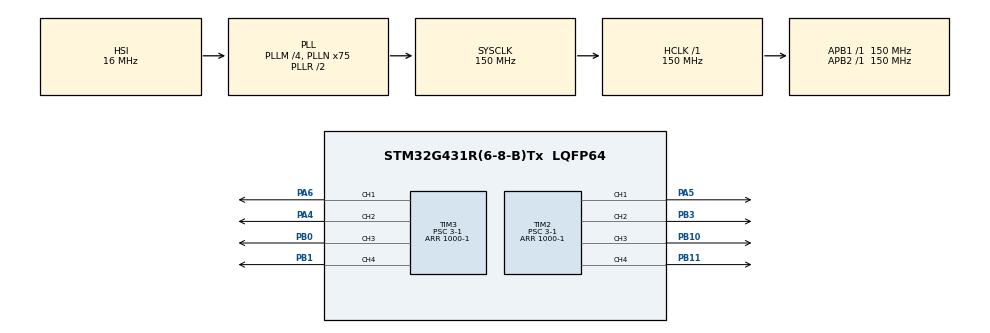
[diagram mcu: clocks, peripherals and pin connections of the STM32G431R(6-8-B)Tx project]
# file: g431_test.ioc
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FREERTOS.Tasks01=defaultTask,0,128,StartDefaultTask,Default,NULL,Dynamic,NULL,NULL
Mcu.Family=STM32G4
Mcu.Name=STM32G431R(6-8-B)Tx
Mcu.Package=LQFP64
NVIC.PriorityGroup=NVIC_PRIORITYGROUP_4
NVIC.TIM2_IRQn=true\:5\:0\:false\:false\:true\:true\:true\:true\:true
NVIC.TIM3_IRQn=true\:5\:0\:true\:false\:true\:true\:true\:true\:true
PA13.Mode=Serial_Wire
PA13.Signal=SYS_JTMS-SWDIO
PA14.Mode=Serial_Wire
PA14.Signal=SYS_JTCK-SWCLK
PA4.Signal=S_TIM3_CH2
PA5.Signal=S_TIM2_CH1
PA6.Signal=S_TIM3_CH1
PB0.Signal=S_TIM3_CH3
PB1.Signal=S_TIM3_CH4
PB10.Signal=S_TIM2_CH3
PB11.Signal=S_TIM2_CH4
PB3.Signal=S_TIM2_CH2
PC14-OSC32_IN.Mode=LSE-External-Oscillator
PC14-OSC32_IN.Signal=RCC_OSC32_IN
PC15-OSC32_OUT.Mode=LSE-External-Oscillator
PC15-OSC32_OUT.Signal=RCC_OSC32_OUT
PF0-OSC_IN.Mode=HSE-External-Oscillator
PF0-OSC_IN.Signal=RCC_OSC_IN
PF1-OSC_OUT.Mode=HSE-External-Oscillator
PF1-OSC_OUT.Signal=RCC_OSC_OUT
ProjectManager.HeapSize=0x200
ProjectManager.StackSize=0x400
ProjectManager.TargetToolchain=MDK-ARM V5.32
RCC.ADC12Freq_Value=150000000
RCC.AHBFreq_Value=150000000
RCC.APB1Freq_Value=150000000
RCC.APB1TimFreq_Value=150000000
RCC.APB2Freq_Value=150000000
RCC.APB2TimFreq_Value=150000000
RCC.CortexFreq_Value=150000000
RCC.EXTERNAL_CLOCK_VALUE=12288000
RCC.HCLKFreq_Value=150000000
RCC.HSE_VALUE=8000000
RCC.HSI48_VALUE=48000000
RCC.HSI_VALUE=16000000
RCC.PLLM=RCC_PLLM_DIV4
RCC.PLLN=75
RCC.SYSCLKFreq_VALUE=150000000
RCC.SYSCLKSource=RCC_SYSCLKSOURCE_PLLCLK
RCC.USBFreq_Value=150000000
RCC.VCOOutputFreq_Value=300000000
SH.S_TIM2_CH1.0=TIM2_CH1,PWM Generation1 CH1
SH.S_TIM2_CH2.0=TIM2_CH2,PWM Generation2 CH2
SH.S_TIM2_CH3.0=TIM2_CH3,PWM Generation3 CH3
SH.S_TIM2_CH4.0=TIM2_CH4,PWM Generation4 CH4
SH.S_TIM3_CH1.0=TIM3_CH1,PWM Generation1 CH1
SH.S_TIM3_CH2.0=TIM3_CH2,PWM Generation2 CH2
SH.S_TIM3_CH3.0=TIM3_CH3,PWM Generation3 CH3
SH.S_TIM3_CH4.0=TIM3_CH4,PWM Generation4 CH4
TIM2.Channel-PWM\ Generation1\ CH1=TIM_CHANNEL_1
TIM2.Channel-PWM\ Generation2\ CH2=TIM_CHANNEL_2
TIM2.Channel-PWM\ Generation3\ CH3=TIM_CHANNEL_3
TIM2.Channel-PWM\ Generation4\ CH4=TIM_CHANNEL_4
TIM2.OCMode_PWM-PWM\ Generation2\ CH2=TIM_OCMODE_PWM2
TIM2.OCMode_PWM-PWM\ Generation3\ CH3=TIM_OCMODE_PWM1
TIM2.OCMode_PWM-PWM\ Generation4\ CH4=TIM_OCMODE_PWM2
TIM2.PeriodNoDither=1000-1
TIM2.Prescaler=3-1
TIM2.PulseNoDither_1=2000
TIM2.PulseNoDither_2=2000
TIM2.PulseNoDither_3=2000
TIM2.PulseNoDither_4=2000
TIM3.Channel-PWM\ Generation1\ CH1=TIM_CHANNEL_1
TIM3.Channel-PWM\ Generation2\ CH2=TIM_CHANNEL_2
TIM3.Channel-PWM\ Generation3\ CH3=TIM_CHANNEL_3
TIM3.Channel-PWM\ Generation4\ CH4=TIM_CHANNEL_4
TIM3.OCMode_PWM-PWM\ Generation3\ CH3=TIM_OCMODE_PWM2
TIM3.OCMode_PWM-PWM\ Generation4\ CH4=TIM_OCMODE_PWM2
TIM3.PeriodNoDither=1000-1
TIM3.Prescaler=3-1
TIM3.PulseNoDither_1=2000
TIM3.PulseNoDither_2=2000
TIM3.PulseNoDither_3=2000
TIM3.PulseNoDither_4=2000
VP_FREERTOS_VS_CMSIS_V1.Mode=CMSIS_V1
VP_SYS_VS_DBSignals.Mode=DisableDeadBatterySignals
VP_TIM2_VS_ClockSourceINT.Mode=Internal
VP_TIM3_VS_ClockSourceINT.Mode=Internal
board=custom

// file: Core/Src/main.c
/* USER CODE BEGIN Header */
/**
  ******************************************************************************
  * @file           : main.c
  * @brief          : Main program body
  ******************************************************************************
  * @attention
  *
  * Copyright (c) 2025 STMicroelectronics.
  * All rights reserved.
  *
  * This software is licensed under terms that can be found in the LICENSE file
  * in the root directory of this software component.
  * If no LICENSE file comes with this software, it is provided AS-IS.
  *
  ******************************************************************************
  */
/* USER CODE END Header */
#include "main.h"
#include "cmsis_os.h"
#include "tim.h"
#include "gpio.h"

/* USER CODE BEGIN Includes */
#include "ad7606b.h"
#include "bsp_dwt.h"
/* USER CODE END Includes */

void SystemClock_Config(void);
void MX_FREERTOS_Init(void);

int main(void)
{

  /* MCU Configuration--------------------------------------------------------*/

  /* Reset of all peripherals, Initializes the Flash interface and the Systick. */
  HAL_Init();

  /* Configure the system clock */
  SystemClock_Config();

  /* Initialize all configured peripherals */
  MX_GPIO_Init();
  MX_TIM3_Init();
  MX_TIM2_Init();
  /* USER CODE BEGIN 2 */

	HAL_TIM_PWM_Start_IT(&htim3,TIM_CHANNEL_1);
	HAL_TIM_PWM_Start_IT(&htim3,TIM_CHANNEL_2);
	HAL_TIM_PWM_Start_IT(&htim3,TIM_CHANNEL_3);
	HAL_TIM_PWM_Start_IT(&htim3,TIM_CHANNEL_4);
	HAL_TIM_PWM_Start_IT(&htim2,TIM_CHANNEL_1);
	HAL_TIM_PWM_Start_IT(&htim2,TIM_CHANNEL_2);
	HAL_TIM_PWM_Start_IT(&htim2,TIM_CHANNEL_3);
	HAL_TIM_PWM_Start_IT(&htim2,TIM_CHANNEL_4);

	DWT_Init(150);

	AD7606B_Init();										/* AD7606B引脚初始化 */

  /* USER CODE END 2 */

  /* Call init function for freertos objects (in cmsis_os2.c) */
  MX_FREERTOS_Init();

  /* Start scheduler */
  osKernelStart();

  /* We should never get here as control is now taken by the scheduler */

  /* Infinite loop */
  while (1)
  {

  }
}

void SystemClock_Config(void)
{
  RCC_OscInitTypeDef RCC_OscInitStruct = {0};
  RCC_ClkInitTypeDef RCC_ClkInitStruct = {0};

  /** Configure the main internal regulator output voltage
  */
  HAL_PWREx_ControlVoltageScaling(PWR_REGULATOR_VOLTAGE_SCALE1);

  /** Initializes the RCC Oscillators according to the specified parameters
  * in the RCC_OscInitTypeDef structure.
  */
  RCC_OscInitStruct.OscillatorType = RCC_OSCILLATORTYPE_HSI;
  RCC_OscInitStruct.HSIState = RCC_HSI_ON;
  RCC_OscInitStruct.HSICalibrationValue = RCC_HSICALIBRATION_DEFAULT;
  RCC_OscInitStruct.PLL.PLLState = RCC_PLL_ON;
  RCC_OscInitStruct.PLL.PLLSource = RCC_PLLSOURCE_HSI;
  RCC_OscInitStruct.PLL.PLLM = RCC_PLLM_DIV4;
  RCC_OscInitStruct.PLL.PLLN = 75;
  RCC_OscInitStruct.PLL.PLLP = RCC_PLLP_DIV2;
  RCC_OscInitStruct.PLL.PLLQ = RCC_PLLQ_DIV2;
  RCC_OscInitStruct.PLL.PLLR = RCC_PLLR_DIV2;
  if (HAL_RCC_OscConfig(&RCC_OscInitStruct) != HAL_OK)
  {
    Error_Handler();
  }

  /** Initializes the CPU, AHB and APB buses clocks
  */
  RCC_ClkInitStruct.ClockType = RCC_CLOCKTYPE_HCLK|RCC_CLOCKTYPE_SYSCLK
                              |RCC_CLOCKTYPE_PCLK1|RCC_CLOCKTYPE_PCLK2;
  RCC_ClkInitStruct.SYSCLKSource = RCC_SYSCLKSOURCE_PLLCLK;
  RCC_ClkInitStruct.AHBCLKDivider = RCC_SYSCLK_DIV1;
  RCC_ClkInitStruct.APB1CLKDivider = RCC_HCLK_DIV1;
  RCC_ClkInitStruct.APB2CLKDivider = RCC_HCLK_DIV1;

  if (HAL_RCC_ClockConfig(&RCC_ClkInitStruct, FLASH_LATENCY_4) != HAL_OK)
  {
    Error_Handler();
  }
}

void Error_Handler(void)
{
  __disable_irq();
  while (1)
  {
  }
}

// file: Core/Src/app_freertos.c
/* USER CODE BEGIN Header */
/**
  ******************************************************************************
  * File Name          : app_freertos.c
  * Description        : Code for freertos applications
  ******************************************************************************
  * @attention
  *
  * Copyright (c) 2025 STMicroelectronics.
  * All rights reserved.
  *
  * This software is licensed under terms that can be found in the LICENSE file
  * in the root directory of this software component.
  * If no LICENSE file comes with this software, it is provided AS-IS.
  *
  ******************************************************************************
  */
/* USER CODE END Header */

#include "FreeRTOS.h"
#include "task.h"
#include "main.h"
#include "cmsis_os.h"

/* USER CODE BEGIN Includes */
#include "main_control_task.h"
#include "adc_task.h"
/* USER CODE END Includes */

osThreadId defaultTaskHandle;

/* USER CODE BEGIN FunctionPrototypes */
osThreadId maincontrolTaskHandle;

osThreadId adcTaskHandle;
/* USER CODE END FunctionPrototypes */

void StartDefaultTask(void const * argument);

void MX_FREERTOS_Init(void); /* (MISRA C 2004 rule 8.1) */

void MX_FREERTOS_Init(void) {

  /* Create the thread(s) */
  /* definition and creation of defaultTask */
  osThreadDef(defaultTask, StartDefaultTask, osPriorityNormal, 0, 128);
  defaultTaskHandle = osThreadCreate(osThread(defaultTask), NULL);

  /* USER CODE BEGIN RTOS_THREADS */
  /* add threads, ... */
	osThreadDef(maincontrolTask, main_control_Task, osPriorityNormal, 0, 128);
  maincontrolTaskHandle = osThreadCreate(osThread(maincontrolTask), NULL);

	osThreadDef(adcTask, adc_Task, osPriorityNormal, 0, 128);
  adcTaskHandle = osThreadCreate(osThread(adcTask), NULL);

  /* USER CODE END RTOS_THREADS */

}

void StartDefaultTask(void const * argument)
{
  for(;;)
  {
    osDelay(1);
  }
}
